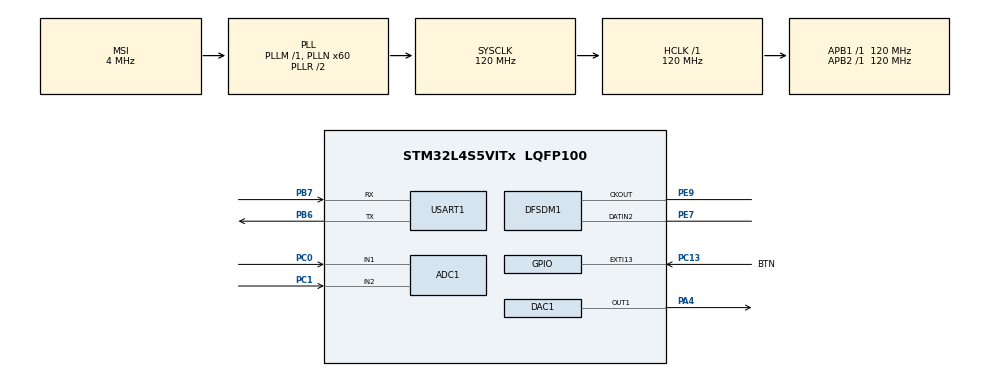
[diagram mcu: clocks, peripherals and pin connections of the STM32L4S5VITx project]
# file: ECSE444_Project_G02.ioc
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Mcu.Family=STM32L4
VP_SYS_VS_tim6.Mode=TIM6
RCC.CortexFreq_Value=120000000
NVIC.TIM6_DAC_IRQn=true\:0\:0\:false\:false\:true\:false\:false\:true
SH.ADCx_IN2.0=ADC1_IN2,IN1-Differential
SH.SharedAnalog_PA4.0=GPIO_Analog
SH.SharedAnalog_PA4.1=DAC1_OUT1,DAC_OUT1
Dma.DFSDM1_FLT1.1.Mode=DMA_CIRCULAR
Dma.DFSDM1_FLT0.0.RequestNumber=1
Dma.DFSDM1_FLT1.1.Direction=DMA_PERIPH_TO_MEMORY
Dma.DFSDM1_FLT0.0.Mode=DMA_CIRCULAR
PC13.GPIO_Label=BTN
Dma.DFSDM1_FLT0.0.MemDataAlignment=DMA_MDATAALIGN_WORD
Dma.DFSDM1_FLT1.1.Instance=DMA1_Channel2
RCC.SYSCLKSource=RCC_SYSCLKSOURCE_PLLCLK
ProjectManager.StackSize=0x400
ADC1.SingleDiff-2\#ChannelRegularConversion=ADC_DIFFERENTIAL_ENDED
Dma.DFSDM1_FLT1.1.EventEnable=DISABLE
NVIC.ADC1_IRQn=true\:5\:0\:false\:false\:true\:true\:true\:true
RCC.HCLKFreq_Value=120000000
RCC.APB2TimFreq_Value=120000000
Dma.DFSDM1_FLT0.0.EventEnable=DISABLE
PB6.Signal=USART1_TX
ADC1.Channel-2\#ChannelRegularConversion=ADC_CHANNEL_1
PB6.Mode=Asynchronous
Dma.DFSDM1_FLT1.1.SyncSignalID=NONE
RCC.AHBFreq_Value=120000000
NVIC.EXTI15_10_IRQn=true\:5\:0\:false\:false\:true\:true\:true\:true
RCC.HSE_VALUE=8000000
Dma.DFSDM1_FLT0.0.Direction=DMA_PERIPH_TO_MEMORY
DFSDM1.FastMode_reg_FIL1=ENABLE
DFSDM1.FastMode_reg_FIL0=ENABLE
ADC1.Rank-2\#ChannelRegularConversion=1
Dma.DFSDM1_FLT0.0.Instance=DMA1_Channel1
RCC.SAI1CLockSelection=RCC_SAI1CLKSOURCE_PLL
PE9.Signal=S_CKOUTDFSDM1
Dma.DFSDM1_FLT0.0.SyncSignalID=NONE
NVIC.TIM2_IRQn=true\:5\:0\:false\:false\:true\:true\:true\:true
PB7.Signal=USART1_RX
DFSDM1.Fosr_FIL0=64
Dma.DFSDM1_FLT1.1.SyncEnable=DISABLE
DFSDM1.RightBitShift_CH2=0x02
DAC1.WaveGeneration-DAC_OUT1=NoiseWaveGeneration
VP_FREERTOS_VS_CMSIS_V1.Mode=CMSIS_V1
DFSDM1.RightBitShift_CH1=0x02
DFSDM1.Fosr_FIL1=64
Mcu.Package=LQFP100
NVIC.TimeBase=TIM6_DAC_IRQn
Dma.DFSDM1_FLT1.1.MemDataAlignment=DMA_MDATAALIGN_WORD
Dma.DFSDM1_FLT1.1.PeriphDataAlignment=DMA_PDATAALIGN_WORD
NVIC.TimeBaseIP=TIM6
SH.ADCx_IN1.0=ADC1_IN1,IN1-Differential
Dma.Request1=DFSDM1_FLT1
RCC.APB1TimFreq_Value=120000000
PE7.Signal=S_DATAIN2DFSDM1
Dma.DFSDM1_FLT1.1.RequestNumber=1
Dma.Request0=DFSDM1_FLT0
DFSDM1.SincOrder_FIL0=DFSDM_FILTER_SINC4_ORDER
DFSDM1.SincOrder_FIL1=DFSDM_FILTER_SINC4_ORDER
Dma.DFSDM1_FLT0.0.SyncRequestNumber=1
RCC.HSI48_VALUE=48000000
RCC.PLLSAI1P=RCC_PLLP_DIV7
RCC.PLLSAI1N=16
RCC.MSI_VALUE=4000000
Dma.DFSDM1_FLT1.1.SyncPolarity=HAL_DMAMUX_SYNC_NO_EVENT
FREERTOS.Tasks01=defaultTask,0,128,StartDefaultTask,Default,NULL,Dynamic,NULL,NULL;fourierCalculat,-3,128,StartFourierCalTask,Default,NULL,Dynamic,NULL,NULL;audioSampling,-3,128,StartAudioSamplingTask,Default,NULL,Dynamic,NULL,NULL
Dma.DFSDM1_FLT0.0.PeriphInc=DMA_PINC_DISABLE
PC13.Signal=GPXTI13
Dma.DFSDM1_FLT0.0.SyncPolarity=HAL_DMAMUX_SYNC_NO_EVENT
SH.S_DATAIN2DFSDM1.1=DFSDM1_DATIN2,PDM_SPI_input_from_ch2_and_internal_clock
Dma.DFSDM1_FLT0.0.MemInc=DMA_MINC_ENABLE
Dma.DFSDM1_FLT0.0.Priority=DMA_PRIORITY_LOW
SH.S_DATAIN2DFSDM1.0=DFSDM1_DATIN2,PDM_SPI_Input_from_ch12_and_Internal_Clock
Dma.DFSDM1_FLT1.1.MemInc=DMA_MINC_ENABLE
PC0.Signal=ADCx_IN1
ADC1.SamplingTime-2\#ChannelRegularConversion=ADC_SAMPLETIME_2CYCLES_5
Dma.DFSDM1_FLT1.1.PeriphInc=DMA_PINC_DISABLE
Dma.DFSDM1_FLT0.0.SyncEnable=DISABLE
USART1.VirtualMode-Asynchronous=VM_ASYNC
Dma.DFSDM1_FLT0.0.PeriphDataAlignment=DMA_PDATAALIGN_WORD
NVIC.DMA1_Channel2_IRQn=true\:5\:0\:false\:false\:true\:true\:false\:true
ProjectManager.TargetToolchain=STM32CubeIDE
DFSDM1.Type_spi_CH1=DFSDM_CHANNEL_SPI_FALLING
ADC1.EnableAnalogWatchDog1=false
RCC.USBFreq_Value=32000000
RCC.LSE_VALUE=32768
Dma.DFSDM1_FLT1.1.Polarity=HAL_DMAMUX_REQUEST_GEN_RISING
Dma.DFSDM1_FLT1.1.SyncRequestNumber=1
Dma.DFSDM1_FLT0.0.SignalID=NONE
board=B-L4S5I-IOT01A
RCC.VCOOutputFreq_Value=240000000
NVIC.DFSDM1_FLT0_IRQn=true\:5\:0\:false\:false\:true\:true\:true\:true
RCC.APB2Freq_Value=120000000
VP_TIM2_VS_ClockSourceINT.Mode=Internal
SH.S_CKOUTDFSDM1.0=DFSDM1_CKOUT,PDM_SPI_Input_from_ch12_and_Internal_Clock
SH.S_CKOUTDFSDM1.1=DFSDM1_CKOUT,PDM_SPI_input_from_ch2_and_internal_clock
RCC.ADCFreq_Value=32000000
DAC1.DAC_Trigger-DAC_OUT1=DAC_TRIGGER_T2_TRGO
TIM2.Period=30000
ADC1.OffsetNumber-2\#ChannelRegularConversion=ADC_OFFSET_NONE
Mcu.Name=STM32L4S5VITx
Dma.DFSDM1_FLT1.1.Priority=DMA_PRIORITY_LOW
PA4.Signal=SharedAnalog_PA4
RCC.SYSCLKFreq_VALUE=120000000
ADC1.master=1
Dma.DFSDM1_FLT1.1.SignalID=NONE
PB7.Mode=Asynchronous
ProjectManager.HeapSize=0x200
RCC.HSI_VALUE=16000000
DFSDM1.DmaMode_reg_FIL1=ENABLE
NVIC.PriorityGroup=NVIC_PRIORITYGROUP_4
ADC1.NbrOfConversionFlag=1
DFSDM1.DmaMode_reg_FIL0=ENABLE
RCC.PLLN=60
DFSDM1.Divider=39
DFSDM1.Filter_regChannel_FIL1=DFSDM_CHANNEL_1
NVIC.DFSDM1_FLT1_IRQn=true\:5\:0\:false\:false\:true\:true\:true\:true
NVIC.DMA1_Channel1_IRQn=true\:5\:0\:false\:false\:true\:true\:false\:true
DFSDM1.Filter_regChannel_FIL0=DFSDM_CHANNEL_2
RCC.APB1Freq_Value=120000000
Dma.DFSDM1_FLT0.0.Polarity=HAL_DMAMUX_REQUEST_GEN_RISING
PC1.Signal=ADCx_IN2

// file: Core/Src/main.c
/* USER CODE BEGIN Header */
/**
 ******************************************************************************
 * @file           : main.c
 * @brief          : Main program body
 ******************************************************************************
 * @attention
 *
 * <h2><center>&copy; Copyright (c) 2021 STMicroelectronics.
 * All rights reserved.</center></h2>
 *
 * This software component is licensed by ST under BSD 3-Clause license,
 * the "License"; You may not use this file except in compliance with the
 * License. You may obtain a copy of the License at:
 *                        opensource.org/licenses/BSD-3-Clause
 *
 ******************************************************************************
 */
/* USER CODE END Header */
#include "main.h"
#include "cmsis_os.h"

/* USER CODE BEGIN Includes */
#include "arm_math.h"
#include <stdlib.h>
#include <string.h>

/* USER CODE END Includes */

/* USER CODE BEGIN PD */
#define FFT_SIZE 1024
#define TUNING_THRESHOLD 1
#define RAW_SIZE 512

/* USER CODE END PD */

ADC_HandleTypeDef hadc1;

DAC_HandleTypeDef hdac1;

DFSDM_Filter_HandleTypeDef hdfsdm1_filter0;
DFSDM_Filter_HandleTypeDef hdfsdm1_filter1;
DFSDM_Channel_HandleTypeDef hdfsdm1_channel1;
DFSDM_Channel_HandleTypeDef hdfsdm1_channel2;
DMA_HandleTypeDef hdma_dfsdm1_flt0;
DMA_HandleTypeDef hdma_dfsdm1_flt1;

TIM_HandleTypeDef htim2;

UART_HandleTypeDef huart1;

osThreadId defaultTaskHandle;
osThreadId audioSamplingHandle;
osThreadId fourierCalculatHandle;

void SystemClock_Config(void);
static void MX_GPIO_Init(void);
static void MX_DMA_Init(void);
static void MX_DFSDM1_Init(void);
static void MX_ADC1_Init(void);
static void MX_USART1_UART_Init(void);
static void MX_DAC1_Init(void);
static void MX_TIM2_Init(void);
void StartDefaultTask(void const * argument);
void StartAudioSamplingTask(void const * argument);

/* USER CODE BEGIN 0 */

int32_t data[RAW_SIZE] = {0};
int32_t data2[1] = {0};
int32_t x= 0; // for SWV graphing
q31_t fourier[FFT_SIZE];

arm_rfft_instance_q31 S; // instance for complex calculations

// fft calculation-related variables
int sample_count = 0;
int recording = 0;
q31_t max_ft = 0;
uint32_t freq = 0;

// state of the tuner
int tuning = 0;

//Button
GPIO_PinState button_state;
int initCount=0;
uint32_t tick;
int pressed = 0;
uint32_t utime = 0;
uint32_t timeout = 750;

// Strings
int stringFreqs[6] = {83, 56, 74, 100, 252, 168}; // Hassan's guitar
//int stringFreqs[6] = {83, 56, 74, 100, 126, 168}; // alixe's guitar
//int stringFreqs[6] = {126, 168, 91, 100, 252, 168}; // YT video
char* stringNames[6] = {"Low-E", "A", "D", "G", "B", "High-E"};
int currentString = 0;

/* USER CODE END 0 */

int main(void)
{

	/* MCU Configuration--------------------------------------------------------*/

	/* Reset of all peripherals, Initializes the Flash interface and the Systick. */
	HAL_Init();

	/* Configure the system clock */
	SystemClock_Config();

	/* Initialize all configured peripherals */
	MX_GPIO_Init();
	MX_DMA_Init();
	MX_DFSDM1_Init();
	MX_ADC1_Init();
	MX_USART1_UART_Init();
	MX_DAC1_Init();
	MX_TIM2_Init();
	/* USER CODE BEGIN 2 */

	arm_rfft_init_q31(&S, RAW_SIZE, 0, 1);

	HAL_DFSDM_FilterRegularStart_DMA(&hdfsdm1_filter0, data2, 1);

	HAL_TIM_Base_Start_IT(&htim2); // Start timer 2 in interrupt mode

	// User Interface
	char * welcome = (char*) malloc(sizeof(char)*500);
	memset(welcome, 0x00, 500);
	sprintf(welcome, "This is Group 2's guitar tuner!\n");
	HAL_UART_Transmit(&huart1, welcome, strlen(welcome), 500);
	free(welcome);

	/* USER CODE END 2 */

	/* Create the thread(s) */
	/* definition and creation of defaultTask */
	osThreadDef(defaultTask, StartDefaultTask, osPriorityNormal, 0, 128);
	defaultTaskHandle = osThreadCreate(osThread(defaultTask), NULL);

	/* definition and creation of audioSampling */
	osThreadDef(audioSampling, StartAudioSamplingTask, osPriorityNormal, 0, 128);
	audioSamplingHandle = osThreadCreate(osThread(audioSampling), NULL);

	/* Start scheduler */
	osKernelStart();

	/* We should never get here as control is now taken by the scheduler */
	/* Infinite loop */
	while (1)
	{

	}
}

void SystemClock_Config(void)
{
	RCC_OscInitTypeDef RCC_OscInitStruct = {0};
	RCC_ClkInitTypeDef RCC_ClkInitStruct = {0};
	RCC_PeriphCLKInitTypeDef PeriphClkInit = {0};

	/** Configure the main internal regulator output voltage
	 */
	if (HAL_PWREx_ControlVoltageScaling(PWR_REGULATOR_VOLTAGE_SCALE1_BOOST) != HAL_OK)
	{
		Error_Handler();
	}
	/** Initializes the RCC Oscillators according to the specified parameters
	 * in the RCC_OscInitTypeDef structure.
	 */
	RCC_OscInitStruct.OscillatorType = RCC_OSCILLATORTYPE_MSI;
	RCC_OscInitStruct.MSIState = RCC_MSI_ON;
	RCC_OscInitStruct.MSICalibrationValue = 0;
	RCC_OscInitStruct.MSIClockRange = RCC_MSIRANGE_6;
	RCC_OscInitStruct.PLL.PLLState = RCC_PLL_ON;
	RCC_OscInitStruct.PLL.PLLSource = RCC_PLLSOURCE_MSI;
	RCC_OscInitStruct.PLL.PLLM = 1;
	RCC_OscInitStruct.PLL.PLLN = 60;
	RCC_OscInitStruct.PLL.PLLP = RCC_PLLP_DIV2;
	RCC_OscInitStruct.PLL.PLLQ = RCC_PLLQ_DIV2;
	RCC_OscInitStruct.PLL.PLLR = RCC_PLLR_DIV2;
	if (HAL_RCC_OscConfig(&RCC_OscInitStruct) != HAL_OK)
	{
		Error_Handler();
	}
	/** Initializes the CPU, AHB and APB buses clocks
	 */
	RCC_ClkInitStruct.ClockType = RCC_CLOCKTYPE_HCLK|RCC_CLOCKTYPE_SYSCLK
			|RCC_CLOCKTYPE_PCLK1|RCC_CLOCKTYPE_PCLK2;
	RCC_ClkInitStruct.SYSCLKSource = RCC_SYSCLKSOURCE_PLLCLK;
	RCC_ClkInitStruct.AHBCLKDivider = RCC_SYSCLK_DIV1;
	RCC_ClkInitStruct.APB1CLKDivider = RCC_HCLK_DIV1;
	RCC_ClkInitStruct.APB2CLKDivider = RCC_HCLK_DIV1;

	if (HAL_RCC_ClockConfig(&RCC_ClkInitStruct, FLASH_LATENCY_5) != HAL_OK)
	{
		Error_Handler();
	}
	PeriphClkInit.PeriphClockSelection = RCC_PERIPHCLK_USART1|RCC_PERIPHCLK_DFSDM1
			|RCC_PERIPHCLK_ADC;
	PeriphClkInit.Usart1ClockSelection = RCC_USART1CLKSOURCE_PCLK2;
	PeriphClkInit.AdcClockSelection = RCC_ADCCLKSOURCE_PLLSAI1;
	PeriphClkInit.Dfsdm1ClockSelection = RCC_DFSDM1CLKSOURCE_PCLK;
	PeriphClkInit.PLLSAI1.PLLSAI1Source = RCC_PLLSOURCE_MSI;
	PeriphClkInit.PLLSAI1.PLLSAI1M = 1;
	PeriphClkInit.PLLSAI1.PLLSAI1N = 16;
	PeriphClkInit.PLLSAI1.PLLSAI1P = RCC_PLLP_DIV7;
	PeriphClkInit.PLLSAI1.PLLSAI1Q = RCC_PLLQ_DIV2;
	PeriphClkInit.PLLSAI1.PLLSAI1R = RCC_PLLR_DIV2;
	PeriphClkInit.PLLSAI1.PLLSAI1ClockOut = RCC_PLLSAI1_ADC1CLK;
	if (HAL_RCCEx_PeriphCLKConfig(&PeriphClkInit) != HAL_OK)
	{
		Error_Handler();
	}
}

static void MX_ADC1_Init(void)
{

	ADC_ChannelConfTypeDef sConfig = {0};

	/** Common config
	 */
	hadc1.Instance = ADC1;
	hadc1.Init.ClockPrescaler = ADC_CLOCK_ASYNC_DIV1;
	hadc1.Init.Resolution = ADC_RESOLUTION_12B;
	hadc1.Init.DataAlign = ADC_DATAALIGN_RIGHT;
	hadc1.Init.ScanConvMode = ADC_SCAN_DISABLE;
	hadc1.Init.EOCSelection = ADC_EOC_SINGLE_CONV;
	hadc1.Init.LowPowerAutoWait = DISABLE;
	hadc1.Init.ContinuousConvMode = DISABLE;
	hadc1.Init.NbrOfConversion = 1;
	hadc1.Init.DiscontinuousConvMode = DISABLE;
	hadc1.Init.ExternalTrigConv = ADC_SOFTWARE_START;
	hadc1.Init.ExternalTrigConvEdge = ADC_EXTERNALTRIGCONVEDGE_NONE;
	hadc1.Init.DMAContinuousRequests = DISABLE;
	hadc1.Init.Overrun = ADC_OVR_DATA_PRESERVED;
	hadc1.Init.OversamplingMode = DISABLE;
	if (HAL_ADC_Init(&hadc1) != HAL_OK)
	{
		Error_Handler();
	}
	/** Configure Regular Channel
	 */
	sConfig.Channel = ADC_CHANNEL_1;
	sConfig.Rank = ADC_REGULAR_RANK_1;
	sConfig.SamplingTime = ADC_SAMPLETIME_2CYCLES_5;
	sConfig.SingleDiff = ADC_DIFFERENTIAL_ENDED;
	sConfig.OffsetNumber = ADC_OFFSET_NONE;
	sConfig.Offset = 0;
	if (HAL_ADC_ConfigChannel(&hadc1, &sConfig) != HAL_OK)
	{
		Error_Handler();
	}

}

static void MX_DAC1_Init(void)
{

	DAC_ChannelConfTypeDef sConfig = {0};

	/** DAC Initialization
	 */
	hdac1.Instance = DAC1;
	if (HAL_DAC_Init(&hdac1) != HAL_OK)
	{
		Error_Handler();
	}
	/** DAC channel OUT1 config
	 */
	sConfig.DAC_SampleAndHold = DAC_SAMPLEANDHOLD_DISABLE;
	sConfig.DAC_Trigger = DAC_TRIGGER_T2_TRGO;
	sConfig.DAC_HighFrequency = DAC_HIGH_FREQUENCY_INTERFACE_MODE_DISABLE;
	sConfig.DAC_OutputBuffer = DAC_OUTPUTBUFFER_ENABLE;
	sConfig.DAC_ConnectOnChipPeripheral = DAC_CHIPCONNECT_DISABLE;
	sConfig.DAC_UserTrimming = DAC_TRIMMING_FACTORY;
	if (HAL_DAC_ConfigChannel(&hdac1, &sConfig, DAC_CHANNEL_1) != HAL_OK)
	{
		Error_Handler();
	}
	/** Configure Noise wave generation on DAC OUT1
	 */
	if (HAL_DACEx_NoiseWaveGenerate(&hdac1, DAC_CHANNEL_1, DAC_LFSRUNMASK_BIT0) != HAL_OK)
	{
		Error_Handler();
	}

}

static void MX_DFSDM1_Init(void)
{

	hdfsdm1_filter0.Instance = DFSDM1_Filter0;
	hdfsdm1_filter0.Init.RegularParam.Trigger = DFSDM_FILTER_SW_TRIGGER;
	hdfsdm1_filter0.Init.RegularParam.FastMode = ENABLE;
	hdfsdm1_filter0.Init.RegularParam.DmaMode = ENABLE;
	hdfsdm1_filter0.Init.FilterParam.SincOrder = DFSDM_FILTER_SINC4_ORDER;
	hdfsdm1_filter0.Init.FilterParam.Oversampling = 64;
	hdfsdm1_filter0.Init.FilterParam.IntOversampling = 1;
	if (HAL_DFSDM_FilterInit(&hdfsdm1_filter0) != HAL_OK)
	{
		Error_Handler();
	}
	hdfsdm1_filter1.Instance = DFSDM1_Filter1;
	hdfsdm1_filter1.Init.RegularParam.Trigger = DFSDM_FILTER_SW_TRIGGER;
	hdfsdm1_filter1.Init.RegularParam.FastMode = ENABLE;
	hdfsdm1_filter1.Init.RegularParam.DmaMode = ENABLE;
	hdfsdm1_filter1.Init.FilterParam.SincOrder = DFSDM_FILTER_SINC4_ORDER;
	hdfsdm1_filter1.Init.FilterParam.Oversampling = 64;
	hdfsdm1_filter1.Init.FilterParam.IntOversampling = 1;
	if (HAL_DFSDM_FilterInit(&hdfsdm1_filter1) != HAL_OK)
	{
		Error_Handler();
	}
	hdfsdm1_channel1.Instance = DFSDM1_Channel1;
	hdfsdm1_channel1.Init.OutputClock.Activation = ENABLE;
	hdfsdm1_channel1.Init.OutputClock.Selection = DFSDM_CHANNEL_OUTPUT_CLOCK_SYSTEM;
	hdfsdm1_channel1.Init.OutputClock.Divider = 39;
	hdfsdm1_channel1.Init.Input.Multiplexer = DFSDM_CHANNEL_EXTERNAL_INPUTS;
	hdfsdm1_channel1.Init.Input.DataPacking = DFSDM_CHANNEL_STANDARD_MODE;
	hdfsdm1_channel1.Init.Input.Pins = DFSDM_CHANNEL_FOLLOWING_CHANNEL_PINS;
	hdfsdm1_channel1.Init.SerialInterface.Type = DFSDM_CHANNEL_SPI_FALLING;
	hdfsdm1_channel1.Init.SerialInterface.SpiClock = DFSDM_CHANNEL_SPI_CLOCK_INTERNAL;
	hdfsdm1_channel1.Init.Awd.FilterOrder = DFSDM_CHANNEL_FASTSINC_ORDER;
	hdfsdm1_channel1.Init.Awd.Oversampling = 1;
	hdfsdm1_channel1.Init.Offset = 0;
	hdfsdm1_channel1.Init.RightBitShift = 0x02;
	if (HAL_DFSDM_ChannelInit(&hdfsdm1_channel1) != HAL_OK)
	{
		Error_Handler();
	}
	hdfsdm1_channel2.Instance = DFSDM1_Channel2;
	hdfsdm1_channel2.Init.OutputClock.Activation = ENABLE;
	hdfsdm1_channel2.Init.OutputClock.Selection = DFSDM_CHANNEL_OUTPUT_CLOCK_SYSTEM;
	hdfsdm1_channel2.Init.OutputClock.Divider = 39;
	hdfsdm1_channel2.Init.Input.Multiplexer = DFSDM_CHANNEL_EXTERNAL_INPUTS;
	hdfsdm1_channel2.Init.Input.DataPacking = DFSDM_CHANNEL_STANDARD_MODE;
	hdfsdm1_channel2.Init.Input.Pins = DFSDM_CHANNEL_SAME_CHANNEL_PINS;
	hdfsdm1_channel2.Init.SerialInterface.Type = DFSDM_CHANNEL_SPI_RISING;
	hdfsdm1_channel2.Init.SerialInterface.SpiClock = DFSDM_CHANNEL_SPI_CLOCK_INTERNAL;
	hdfsdm1_channel2.Init.Awd.FilterOrder = DFSDM_CHANNEL_FASTSINC_ORDER;
	hdfsdm1_channel2.Init.Awd.Oversampling = 1;
	hdfsdm1_channel2.Init.Offset = 0;
	hdfsdm1_channel2.Init.RightBitShift = 0x02;
	if (HAL_DFSDM_ChannelInit(&hdfsdm1_channel2) != HAL_OK)
	{
		Error_Handler();
	}
	if (HAL_DFSDM_FilterConfigRegChannel(&hdfsdm1_filter0, DFSDM_CHANNEL_2, DFSDM_CONTINUOUS_CONV_ON) != HAL_OK)
	{
		Error_Handler();
	}
	if (HAL_DFSDM_FilterConfigRegChannel(&hdfsdm1_filter1, DFSDM_CHANNEL_1, DFSDM_CONTINUOUS_CONV_ON) != HAL_OK)
	{
		Error_Handler();
	}

}

static void MX_TIM2_Init(void)
{

	TIM_ClockConfigTypeDef sClockSourceConfig = {0};
	TIM_MasterConfigTypeDef sMasterConfig = {0};

	htim2.Instance = TIM2;
	htim2.Init.Prescaler = 0;
	htim2.Init.CounterMode = TIM_COUNTERMODE_UP;
	htim2.Init.Period = 30000;
	htim2.Init.ClockDivision = TIM_CLOCKDIVISION_DIV1;
	htim2.Init.AutoReloadPreload = TIM_AUTORELOAD_PRELOAD_DISABLE;
	if (HAL_TIM_Base_Init(&htim2) != HAL_OK)
	{
		Error_Handler();
	}
	sClockSourceConfig.ClockSource = TIM_CLOCKSOURCE_INTERNAL;
	if (HAL_TIM_ConfigClockSource(&htim2, &sClockSourceConfig) != HAL_OK)
	{
		Error_Handler();
	}
	sMasterConfig.MasterOutputTrigger = TIM_TRGO_RESET;
	sMasterConfig.MasterSlaveMode = TIM_MASTERSLAVEMODE_DISABLE;
	if (HAL_TIMEx_MasterConfigSynchronization(&htim2, &sMasterConfig) != HAL_OK)
	{
		Error_Handler();
	}

}

static void MX_USART1_UART_Init(void)
{

	huart1.Instance = USART1;
	huart1.Init.BaudRate = 115200;
	huart1.Init.WordLength = UART_WORDLENGTH_8B;
	huart1.Init.StopBits = UART_STOPBITS_1;
	huart1.Init.Parity = UART_PARITY_NONE;
	huart1.Init.Mode = UART_MODE_TX_RX;
	huart1.Init.HwFlowCtl = UART_HWCONTROL_NONE;
	huart1.Init.OverSampling = UART_OVERSAMPLING_16;
	huart1.Init.OneBitSampling = UART_ONE_BIT_SAMPLE_DISABLE;
	huart1.Init.ClockPrescaler = UART_PRESCALER_DIV1;
	huart1.AdvancedInit.AdvFeatureInit = UART_ADVFEATURE_NO_INIT;
	if (HAL_UART_Init(&huart1) != HAL_OK)
	{
		Error_Handler();
	}
	if (HAL_UARTEx_SetTxFifoThreshold(&huart1, UART_TXFIFO_THRESHOLD_1_8) != HAL_OK)
	{
		Error_Handler();
	}
	if (HAL_UARTEx_SetRxFifoThreshold(&huart1, UART_RXFIFO_THRESHOLD_1_8) != HAL_OK)
	{
		Error_Handler();
	}
	if (HAL_UARTEx_DisableFifoMode(&huart1) != HAL_OK)
	{
		Error_Handler();
	}

}

static void MX_DMA_Init(void)
{

	/* DMA controller clock enable */
	__HAL_RCC_DMAMUX1_CLK_ENABLE();
	__HAL_RCC_DMA1_CLK_ENABLE();

	/* DMA interrupt init */
	/* DMA1_Channel1_IRQn interrupt configuration */
	HAL_NVIC_SetPriority(DMA1_Channel1_IRQn, 5, 0);
	HAL_NVIC_EnableIRQ(DMA1_Channel1_IRQn);
	/* DMA1_Channel2_IRQn interrupt configuration */
	HAL_NVIC_SetPriority(DMA1_Channel2_IRQn, 5, 0);
	HAL_NVIC_EnableIRQ(DMA1_Channel2_IRQn);

}

static void MX_GPIO_Init(void)
{
	GPIO_InitTypeDef GPIO_InitStruct = {0};

	/* GPIO Ports Clock Enable */
	__HAL_RCC_GPIOC_CLK_ENABLE();
	__HAL_RCC_GPIOA_CLK_ENABLE();
	__HAL_RCC_GPIOE_CLK_ENABLE();
	__HAL_RCC_GPIOB_CLK_ENABLE();

	/*Configure GPIO pin : BTN_Pin */
	GPIO_InitStruct.Pin = BTN_Pin;
	GPIO_InitStruct.Mode = GPIO_MODE_IT_RISING;
	GPIO_InitStruct.Pull = GPIO_NOPULL;
	HAL_GPIO_Init(BTN_GPIO_Port, &GPIO_InitStruct);

	/* EXTI interrupt init*/
	HAL_NVIC_SetPriority(EXTI15_10_IRQn, 5, 0);
	HAL_NVIC_EnableIRQ(EXTI15_10_IRQn);

}

/* USER CODE BEGIN 4 */

/*
 * userInput() takes action on a single or double button press.
 * If button is pressed once, start recording/tuning.
 * If button is pressed twice, switch string to tune.
 */
void userInput(int pressedTwice) {
	// buffer for USART output
	char *buffer = (char*) malloc(sizeof(char)*200);
	memset(buffer, 0x00, 200);

	if (pressedTwice ==  1) {
		// switch strings
		if (initCount > 0) {
			// increment string counter
			currentString = (currentString + 1) % 6;

			// user interface
			sprintf(buffer, "Switching to string %s.\n", stringNames[currentString]);
			HAL_UART_Transmit(&huart1, buffer, strlen(buffer), 200);
		} else {
			initCount++;
		}
		// if the button is only pressed once, then we start the tuning process.
	} else {
		sprintf(buffer, "About to tune string %s.", stringNames[currentString]);
		if (initCount > 0) {
			HAL_UART_Transmit(&huart1, buffer, strlen(buffer), 200);
			record(); // start recording
		} else {
			initCount++;
		}
	}

	free(buffer);
}

/*
 * record() starts the frequency detection and prints to the user how tuned the selected string is.
 * Returns when tuning is set to 0, either by pressing button or if string is tuned
 */
void record() {
	// to only display changing frequencies
	int freqDiff = -30000;
	tuning = 1;
	while(tuning) { // while tuning, we keep telling the user where they are
		freqDiff = evaluateData(freqDiff);

		// if button is pressed, we exit tuning
		button_state = HAL_GPIO_ReadPin(BTN_GPIO_Port, BTN_Pin);
		if (!button_state)
		{
			tuning = 0;
			while (!button_state) { // wait for user to release button
				button_state = HAL_GPIO_ReadPin(BTN_GPIO_Port, BTN_Pin);
			}
			return;
		}
	}
}

/*
 * evaluateData() compares the sampled frequency to the string target frequency.
 * Then, it prints the results to the user.
 */
int evaluateData(int pFD) {
	// buffer for user interface
	char *buffer = (char*) malloc(sizeof(char)*200);

	// target frequency and differential
	int targetFreq = stringFreqs[currentString];
	int freqDiff = targetFreq - freq;

	// if we are in the acceptable interval, string is tuned!
	if (abs(freqDiff) <= TUNING_THRESHOLD) {

		// let the user know the string is tuned
		memset(buffer, 0x00, 200);
		sprintf(buffer, "String %s is tuned! Press twice to switch strings.\n", stringNames[currentString]);
		HAL_UART_Transmit(&huart1, buffer, strlen(buffer), 200);

		// set tuning to false, reset frequency for next string
		tuning = 0;
		freq = 0;

	} else if (pFD != freqDiff) { // if the frequency difference is not the same as the previous one, display the new difference
		char* instruction;
		char * action;

		// quantifier for tightening or loosening string
		if (abs(freqDiff) < 5) {
			instruction = "a little";
		} else {
			instruction = "a lot";
		}

		// figure out if we are tightening or loosening
		if (freqDiff > 0) {
			action = "Tighten";
		} else {
			action = "Loosen";
		}
		// print instruction to user
		memset(buffer, 0x00, 200);
		sprintf(buffer, "Tuning String %s. You are %dHz off your target frequency. %s your string %s\n", stringNames[currentString], abs(freqDiff), action ,instruction);
		HAL_UART_Transmit(&huart1, buffer, strlen(buffer), 200);
	}
	free(buffer);
	return freqDiff;
}
/* USER CODE END 4 */

void StartDefaultTask(void const * argument)
{
	/* USER CODE BEGIN 5 */
	/* Infinite loop */
	for(;;)
	{
		osDelay(10);

		if (tuning == 0) { // if we are not tuning already
			button_state = 1;

			// User Interface: print welcome message
			char * welcome = (char*) malloc(sizeof(char)*500);
			memset(welcome, 0x00, 500);
			sprintf(welcome, "Press blue button once to start recording, twice to change strings. \n");
			HAL_UART_Transmit(&huart1, welcome, strlen(welcome), 500);
			free(welcome);

			// wait for user to press button once
			while (button_state) {
				button_state = HAL_GPIO_ReadPin(BTN_GPIO_Port, BTN_Pin);
			}

			// need to detect double press
			tick = HAL_GetTick(); // get current time
			utime = 0; // delay

			while (!button_state) { // wait for user to release button
				button_state = HAL_GPIO_ReadPin(BTN_GPIO_Port, BTN_Pin);
			}

			// if the user presses the button again within timeout, we count it as double press
			while (utime < timeout) {
				button_state = HAL_GPIO_ReadPin(BTN_GPIO_Port, BTN_Pin);
				if (!button_state) {
					pressed = !pressed; // indicate we pressed twice

					while (!button_state) { // wait for user to release button
						button_state = HAL_GPIO_ReadPin(BTN_GPIO_Port, BTN_Pin);
					}
					break;
				}
				utime = HAL_GetTick() - tick; // update time elapsed
			}
			// respond to pushbutton presses
			userInput(pressed);

			pressed = 0; // reset
		}

	}
	/* USER CODE END 5 */
}

void StartAudioSamplingTask(void const * argument)
{
	/* USER CODE BEGIN StartAudioSamplingTask */
	/* Infinite loop */
	for(;;)
	{
		osDelay(1);
		// if we are recording, tuning, we fill array
		if (recording && tuning && sample_count < RAW_SIZE)
		{
			data[sample_count] = data2[0];
			sample_count++;
		} else if (data2[0] - x  >= 20000000 && tuning)
		{
			// if not recording yet, record
			recording = 1;
		}

		// once the data buffer is full, compute fft
		else if (sample_count >= RAW_SIZE){
			sample_count = 0;
			recording = 0;

			arm_rfft_q31(&S, (q31_t*)data, fourier);

			for (int i = 2; i < FFT_SIZE; i++)
			{
				fourier[i-2] = fourier[i];
			}

			arm_cmplx_mag_q31(fourier, data, RAW_SIZE);

			arm_max_q31(data, RAW_SIZE, &max_ft, &freq);

			osDelay(20);

		}

		x=data2[0];

	}
	/* USER CODE END StartAudioSamplingTask */
}

void HAL_TIM_PeriodElapsedCallback(TIM_HandleTypeDef *htim)
{
	if (htim->Instance == TIM6) {
		HAL_IncTick();
	}
}

void Error_Handler(void)
{
	__disable_irq();
	while (1)
	{
	}
}

/************************ (C) COPYRIGHT STMicroelectronics *****END OF FILE****/
